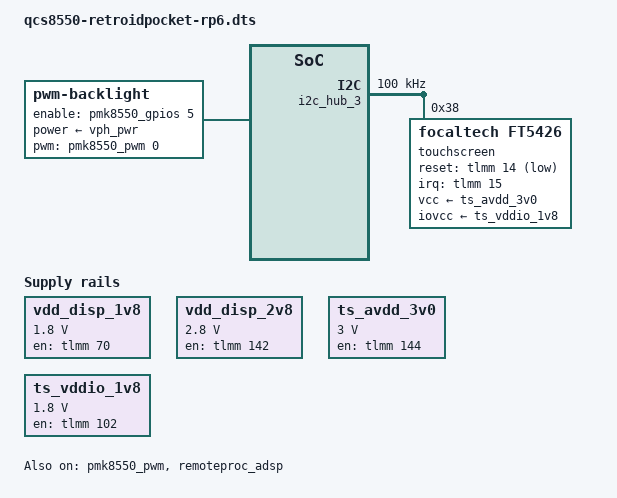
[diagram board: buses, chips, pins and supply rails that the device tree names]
// SPDX-License-Identifier: BSD-3-Clause
/*
 * Copyright (C) 2026-present ROCKNIX (https://github.com/ROCKNIX).
 */

/dts-v1/;

#include <dt-bindings/gpio/gpio.h>
#include <dt-bindings/interrupt-controller/irq.h>
#include "qcs8550-ayntec-common.dtsi"

&{/} {
	model = "Retroid Pocket 6";
	compatible = "retroidpocket,rp6", "qcom,qcs8550", "qcom,sm8550";

	backlight: backlight {
		compatible = "pwm-backlight";
		pwms = <&pmk8550_pwm 0 860000>;
		brightness-levels = <1023 0>;
		num-interpolated-steps = <1023>;
		default-brightness-level = <600>;
		power-supply = <&vph_pwr>;
		enable-gpios = <&pmk8550_gpios 5 GPIO_ACTIVE_HIGH>;
		pinctrl-0 = <&pwm_backlight_default>;
		pinctrl-names = "default";
	};

	vdd_disp_1v8: regulator-vdd-disp-1v8 {
		compatible = "regulator-fixed";
		regulator-name = "vdd_disp_1v8";

		regulator-min-microvolt = <1800000>;
		regulator-max-microvolt = <1800000>;

		gpio = <&tlmm 70 GPIO_ACTIVE_HIGH>;
		enable-active-high;
	};

	vdd_disp_2v8: regulator-vdd-disp-2v8 {
		compatible = "regulator-fixed";
		regulator-name = "vdd_disp_2v8";

		regulator-min-microvolt = <2800000>;
		regulator-max-microvolt = <2800000>;

		gpio = <&tlmm 142 GPIO_ACTIVE_HIGH>;
		enable-active-high;
	};

	ts_avdd_3v0: regulator-ts-avdd-3v0 {
		compatible = "regulator-fixed";
		regulator-name = "ts_avdd_3v0";

		regulator-min-microvolt = <3000000>;
		regulator-max-microvolt = <3000000>;

		gpio = <&tlmm 144 GPIO_ACTIVE_HIGH>;
		enable-active-high;
	};

	ts_vddio_1v8: regulator-ts-vddio-1v8 {
		compatible = "regulator-fixed";
		regulator-name = "ts_vddio_1v8";

		regulator-min-microvolt = <1800000>;
		regulator-max-microvolt = <1800000>;

		gpio = <&tlmm 102 GPIO_ACTIVE_HIGH>;
		enable-active-high;
	};
};

&i2c_hub_3 {
	clock-frequency = <100000>;

	status = "okay";

	touchscreen@38 {
		compatible = "focaltech,ft5426";
		reg = <0x38>;

		interrupt-parent = <&tlmm>;
		interrupts = <15 IRQ_TYPE_EDGE_FALLING>;
		reset-gpios = <&tlmm 14 GPIO_ACTIVE_LOW>;

		vcc-supply = <&ts_avdd_3v0>;
		iovcc-supply = <&ts_vddio_1v8>;

		pinctrl-0 = <&ts_p_rst_default>, <&ts_p_int_default>;
		pinctrl-1 = <&ts_p_rst_sleep>, <&ts_p_int_sleep>;
		pinctrl-names = "default", "sleep";

		touchscreen-size-x = <1080>;
		touchscreen-size-y = <1920>;
		touchscreen-swapped-x-y;
	};
};

&mdss_dsi1 {
	status = "disabled";
};

&pmk8550_pwm {
	status = "okay";
};

&remoteproc_adsp {
	firmware-name = "qcom/sm8550/retroidpocket/rp6/adsp.mbn",
			"qcom/sm8550/retroidpocket/rp6/adsp_dtb.mbn";

	status = "okay";
};

&spk_amp_l {
	firmware-name = "qcom/sm8550/retroidpocket/rp6/aw883xx_acf.bin";
};

&spk_amp_r {
	firmware-name = "qcom/sm8550/retroidpocket/rp6/aw883xx_acf.bin";
};
